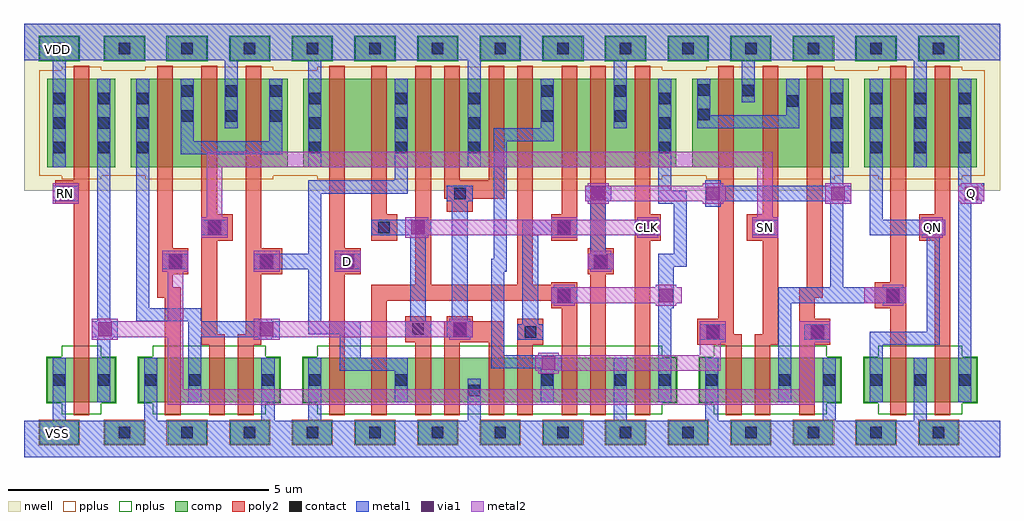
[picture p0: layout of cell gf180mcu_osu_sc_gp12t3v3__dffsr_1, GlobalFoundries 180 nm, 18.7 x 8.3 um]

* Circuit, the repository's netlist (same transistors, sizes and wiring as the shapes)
* Copyright 2022 Google LLC
*
* Licensed under the Apache License, Version 2.0 (the "License");
* you may not use this file except in compliance with the License.
* You may obtain a copy of the License at
*
*      http://www.apache.org/licenses/LICENSE-2.0
*
* Unless required by applicable law or agreed to in writing, software
* distributed under the License is distributed on an "AS IS" BASIS,
* WITHOUT WARRANTIES OR CONDITIONS OF ANY KIND, either express or implied.
* See the License for the specific language governing permissions and
* limitations under the License.

* NGSPICE file created from gf180mcu_osu_sc_gp12t3v3__dffsr_1.ext - technology: gf180mcuC

.subckt gf180mcu_osu_sc_gp12t3v3__dffsr_1 D Q QN RN SN CLK VDD VSS
X0 a_82_16# CLK a_123_111# VDD pfet_03p3 w=1.7u l=0.3u
X1 a_212_111# CLK a_195_21# VDD pfet_03p3 w=1.7u l=0.3u
X2 VSS a_41_111# a_156_21# VSS nfet_03p3 w=0.85u l=0.3u
X3 a_195_21# CLK a_184_21# VSS nfet_03p3 w=0.85u l=0.3u
X4 VSS a_25_21# a_216_70# VSS nfet_03p3 w=0.85u l=0.3u
X5 a_133_16# CLK VSS VSS nfet_03p3 w=0.85u l=0.3u
X6 a_216_70# SN a_275_21# VSS nfet_03p3 w=0.85u l=0.3u
X7 a_123_111# D VDD VDD pfet_03p3 w=1.7u l=0.3u
X8 VDD a_216_70# QN VDD pfet_03p3 w=1.7u l=0.3u
X9 Q QN VDD VDD pfet_03p3 w=1.7u l=0.3u
X10 a_25_21# RN VDD VDD pfet_03p3 w=1.7u l=0.3u
X11 a_41_111# a_25_21# VSS VSS nfet_03p3 w=0.85u l=0.3u
X12 a_25_21# RN VSS VSS nfet_03p3 w=0.85u l=0.3u
X13 a_82_16# a_133_16# a_123_21# VSS nfet_03p3 w=0.85u l=0.3u
X14 a_256_111# SN VDD VDD pfet_03p3 w=1.7u l=0.3u
X15 a_275_21# a_195_21# VSS VSS nfet_03p3 w=0.85u l=0.3u
X16 VDD a_195_21# a_256_111# VDD pfet_03p3 w=1.7u l=0.3u
X17 a_212_21# a_133_16# a_195_21# VSS nfet_03p3 w=0.85u l=0.3u
X18 a_216_70# a_25_21# a_256_111# VDD pfet_03p3 w=1.7u l=0.3u
X19 VSS a_216_70# a_212_21# VSS nfet_03p3 w=0.85u l=0.3u
X20 a_77_21# SN a_41_111# VSS nfet_03p3 w=0.85u l=0.3u
X21 a_57_111# a_82_16# VDD VDD pfet_03p3 w=1.7u l=0.3u
X22 a_57_111# a_25_21# a_41_111# VDD pfet_03p3 w=1.7u l=0.3u
X23 VDD SN a_57_111# VDD pfet_03p3 w=1.7u l=0.3u
X24 a_195_21# a_133_16# a_184_111# VDD pfet_03p3 w=1.7u l=0.3u
X25 VSS a_82_16# a_77_21# VSS nfet_03p3 w=0.85u l=0.3u
X26 a_156_21# CLK a_82_16# VSS nfet_03p3 w=0.85u l=0.3u
X27 Q QN VSS VSS nfet_03p3 w=0.85u l=0.3u
X28 VDD a_41_111# a_156_111# VDD pfet_03p3 w=1.7u l=0.3u
X29 a_184_111# a_41_111# VDD VDD pfet_03p3 w=1.7u l=0.3u
X30 a_133_16# CLK VDD VDD pfet_03p3 w=1.7u l=0.3u
X31 a_123_21# D VSS VSS nfet_03p3 w=0.85u l=0.3u
X32 a_184_21# a_41_111# VSS VSS nfet_03p3 w=0.85u l=0.3u
X33 VSS a_216_70# QN VSS nfet_03p3 w=0.85u l=0.3u
X34 a_156_111# a_133_16# a_82_16# VDD pfet_03p3 w=1.7u l=0.3u
X35 VDD a_216_70# a_212_111# VDD pfet_03p3 w=1.7u l=0.3u
.ends

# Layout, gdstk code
import gdstk
lib = gdstk.Library(unit=1e-6, precision=1e-09)
def R(c, l, rs):  # rectangles x0, y0, x1, y1
    for r in rs: c.add(gdstk.rectangle(r[:2], r[2:], *l))
def A(c, l, x, y, w, h, nx, ny, dx, dy):  # array of equal rectangles
    R(c, l, [(x+i*dx, y+j*dy, x+i*dx+w, y+j*dy+h) for i in range(nx) for j in range(ny)])
nwell = (21, 0)
comp = (22, 0)
poly2 = (30, 0)
pplus = (31, 0)
nplus = (32, 0)
contact = (33, 0)
metal1 = (34, 0)
via1 = (35, 0)
metal2 = (36, 0)

gf180mcu_osu_sc_gp12t3v3 = lib.new_cell('gf180mcu_osu_sc_gp12t3v3__dffsr_1')
R(gf180mcu_osu_sc_gp12t3v3, nwell, [(0,5.1,18.7,8.3)])
A(gf180mcu_osu_sc_gp12t3v3, comp, 1.55, 0.25, 0.75, 0.45, 14, 2, 1.2, 7.35)
R(gf180mcu_osu_sc_gp12t3v3, comp, [(0.3,0.25,1.05,0.7), (0.45,1.05,1.75,1.9), (2.2,1.05,4.9,1.9), (5.35,1.05,12.5,1.9), (12.95,1.05,15.65,1.9), (16.1,1.05,18.25,1.9), (0.45,5.55,1.75,7.25), (2.05,5.55,5.05,7.25), (5.35,5.55,12.5,7.25), (12.8,5.55,15.8,7.25), (16.1,5.55,18.25,7.25), (0.3,7.6,1.05,8.05)])
R(gf180mcu_osu_sc_gp12t3v3, poly2, [(0.95,0.8,1.25,4.85), (2.7,0.8,3,3.05), (3.55,0.8,3.85,2.15), (4.1,0.8,4.4,2.15), (5.85,0.8,6.15,3.5), (6.65,0.8,6.95,3), (7.5,0.8,7.8,2.2), (8.05,0.8,8.35,2.2), (8.9,0.8,9.2,2.2), (9.45,0.8,9.75,2.15), (10.3,0.8,10.6,2.85), (10.85,0.8,11.15,3.5), (11.7,0.8,12,4.15), (13.45,0.8,13.75,2.15), (14,0.8,14.3,2.15), (14.85,0.8,15.15,2.15), (16.6,0.8,16.9,2.85), (17.45,0.8,17.75,4.15), (3.4,2.15,3.85,2.35), (4.1,2.15,4.55,2.35), (9.45,2.15,9.95,2.65), (12.9,2.15,13.75,2.35), (14,2.15,14.45,2.35), (14.85,2.15,15.45,2.65), (7.3,2.2,7.8,2.7), (8.05,2.2,9.2,2.6), (3.4,2.35,3.7,4.15), (4.25,2.35,4.55,3.5), (12.9,2.35,13.6,2.65), (14.15,2.35,14.45,4.15), (8.1,2.6,8.6,2.7), (13.3,2.65,13.6,7.5), (14.85,2.65,15.15,3.05), (10.1,2.85,10.6,3), (16.3,2.85,16.9,3.35), (6.65,3,10.6,3.3), (2.55,3.05,3,3.25), (14.85,3.05,15.3,3.25), (2.55,3.25,2.85,3.5), (15,3.25,15.3,7.5), (7.5,3.3,7.8,7.5), (9.45,3.3,9.75,7.5), (10.1,3.3,10.6,3.35), (16.6,3.35,16.9,7.5), (2.55,3.5,3.15,4), (4.25,3.5,4.95,4), (5.85,3.5,6.45,4), (10.8,3.5,11.3,4), (2.55,4,2.85,7.5), (4.25,4,4.55,7.5), (5.85,4,6.15,7.5), (10.85,4,11.15,7.5), (3.4,4.15,4,4.65), (6.65,4.15,7.15,4.65), (10.1,4.15,10.6,4.65), (11.7,4.15,12.2,4.65), (13.85,4.15,14.45,4.65), (17.15,4.15,17.75,4.65), (3.4,4.65,3.7,7.5), (6.65,4.65,6.95,7.5), (10.3,4.65,10.6,7.5), (11.7,4.65,12,7.5), (14.15,4.65,14.45,7.5), (17.45,4.65,17.75,7.5), (8.1,4.7,8.6,4.95), (0.6,4.85,1.25,5.3), (8.05,4.95,9.2,5.3), (0.95,5.3,1.25,7.5), (8.05,5.3,8.35,7.5), (8.9,5.3,9.2,7.5)])
A(gf180mcu_osu_sc_gp12t3v3, pplus, 1.53, 0.23, 0.79, 0.49, 14, 1, 1.2, 0)
R(gf180mcu_osu_sc_gp12t3v3, pplus, [(0.28,0.23,1.07,0.72), (0.72,5.32,1.48,5.39), (2.32,5.32,4.78,5.39), (5.62,5.32,12.23,5.39), (13.07,5.32,15.53,5.39), (16.37,5.32,17.98,5.39), (0.29,5.39,18.41,7.41), (0.72,7.41,1.48,7.48), (2.32,7.41,4.78,7.48), (5.62,7.41,12.23,7.48), (13.07,7.41,15.53,7.48), (16.37,7.41,17.98,7.48)])
A(gf180mcu_osu_sc_gp12t3v3, nplus, 1.53, 7.58, 0.79, 0.49, 14, 1, 1.2, 0)
R(gf180mcu_osu_sc_gp12t3v3, nplus, [(0.72,0.82,1.48,1.03), (2.47,0.82,4.63,1.03), (5.62,0.82,12.23,1.03), (13.22,0.82,15.38,1.03), (16.37,0.82,17.98,1.03), (0.43,1.03,1.77,1.92), (2.18,1.03,4.92,1.92), (5.33,1.03,12.52,1.92), (12.93,1.03,15.67,1.92), (16.08,1.03,18.27,1.92), (0.72,1.92,1.48,2.13), (2.47,1.92,4.63,2.13), (5.62,1.92,12.23,2.13), (13.22,1.92,15.38,2.13), (16.37,1.92,17.98,2.13), (0.28,7.58,1.07,8.07)])
A(gf180mcu_osu_sc_gp12t3v3, contact, 1.815, 0.365, 0.22, 0.22, 14, 2, 1.2, 7.35)
A(gf180mcu_osu_sc_gp12t3v3, contact, 16.215, 1.365, 0.22, 0.22, 3, 2, 0.85, 4.455)
A(gf180mcu_osu_sc_gp12t3v3, contact, 0.565, 5.82, 0.22, 0.22, 1, 3, 0, 0.47)
A(gf180mcu_osu_sc_gp12t3v3, contact, 1.415, 5.82, 0.22, 0.22, 1, 3, 0, 0.47)
A(gf180mcu_osu_sc_gp12t3v3, contact, 2.165, 5.82, 0.22, 0.22, 1, 3, 0, 0.47)
A(gf180mcu_osu_sc_gp12t3v3, contact, 5.465, 5.82, 0.22, 0.22, 1, 3, 0, 0.47)
A(gf180mcu_osu_sc_gp12t3v3, contact, 7.115, 5.82, 0.22, 0.22, 1, 3, 0, 0.47)
A(gf180mcu_osu_sc_gp12t3v3, contact, 8.515, 5.82, 0.22, 0.22, 1, 3, 0, 0.47)
A(gf180mcu_osu_sc_gp12t3v3, contact, 12.165, 5.82, 0.22, 0.22, 1, 3, 0, 0.47)
A(gf180mcu_osu_sc_gp12t3v3, contact, 15.465, 5.82, 0.22, 0.22, 1, 3, 0, 0.47)
A(gf180mcu_osu_sc_gp12t3v3, contact, 16.215, 6.29, 0.22, 0.22, 3, 2, 0.85, 0.47)
A(gf180mcu_osu_sc_gp12t3v3, contact, 3.015, 6.43, 0.22, 0.22, 3, 2, 0.85, 0.47)
R(gf180mcu_osu_sc_gp12t3v3, contact, [(0.565,0.365,0.785,0.585), (8.515,1.165,8.735,1.385), (0.565,1.365,0.785,1.585), (1.415,1.365,1.635,1.585), (2.315,1.365,2.535,1.585), (3.165,1.365,3.385,1.585), (4.565,1.365,4.785,1.585), (5.465,1.365,5.685,1.585), (7.115,1.365,7.335,1.585), (9.915,1.365,10.135,1.585), (11.315,1.365,11.535,1.585), (12.165,1.365,12.385,1.585), (13.065,1.365,13.285,1.585), (14.465,1.365,14.685,1.585), (15.315,1.365,15.535,1.585), (9.59,2.29,9.81,2.51), (13.09,2.29,13.31,2.51), (15.09,2.29,15.31,2.51), (7.44,2.34,7.66,2.56), (8.24,2.34,8.46,2.56), (10.24,2.99,10.46,3.21), (16.54,2.99,16.76,3.21), (2.79,3.64,3.01,3.86), (4.54,3.64,4.76,3.86), (6.09,3.64,6.31,3.86), (10.94,3.64,11.16,3.86), (3.54,4.29,3.76,4.51), (6.79,4.29,7.01,4.51), (10.24,4.29,10.46,4.51), (11.84,4.29,12.06,4.51), (14.09,4.29,14.31,4.51), (17.29,4.29,17.51,4.51), (8.24,4.94,8.46,5.16), (0.715,4.965,0.935,5.185), (9.915,6.43,10.135,6.65), (11.315,6.43,11.535,6.65), (12.915,6.455,13.135,6.675), (14.615,6.715,14.835,6.935), (9.915,6.9,10.135,7.12), (11.315,6.9,11.535,7.12), (13.765,6.915,13.985,7.135), (12.915,6.925,13.135,7.145), (0.565,7.715,0.785,7.935)])
R(gf180mcu_osu_sc_gp12t3v3, metal1, [(0,0,18.7,0.7), (0.55,0.7,0.8,1.9), (2.3,0.7,2.55,1.9), (4.55,0.7,4.8,1.9), (5.45,0.7,5.7,1.9), (8.5,0.7,8.75,1.5), (11.3,0.7,11.55,1.9), (13.05,0.7,13.3,1.9), (15.3,0.7,15.55,1.9), (17.05,0.7,17.3,1.9), (1.4,1.05,1.65,2.25), (3.15,1.05,3.4,2.3), (7.1,1.05,7.35,1.65), (9.9,1.05,10.15,1.65), (12.15,1.05,12.4,2.85), (14.45,1.05,14.7,2.95), (16.2,1.05,16.45,2.15), (17.9,1.05,18.15,4.85), (6.05,1.65,7.35,1.9), (9.9,1.65,10.3,1.7), (8.95,1.7,10.3,1.95), (6.05,1.9,6.45,2.35), (8.95,1.95,9.2,3.55), (16.2,2.15,17.55,2.4), (1.4,2.25,1.7,2.3), (4.5,2.25,4.75,2.3), (9.45,2.25,9.95,2.55), (12.95,2.25,13.45,2.55), (14.95,2.25,15.45,2.55), (1.3,2.3,1.8,2.6), (3.15,2.3,4.9,2.6), (7.3,2.3,7.8,2.6), (8.1,2.3,8.6,2.6), (5.45,2.35,6.45,2.6), (17.3,2.4,17.55,4.25), (9.55,2.55,9.85,4.25), (1.4,2.6,1.65,7.25), (2.15,2.6,3.4,2.85), (4.5,2.6,4.75,2.65), (5.45,2.6,5.7,3.6), (7.4,2.6,7.7,4.25), (8.2,2.6,8.5,4.9), (2.15,2.85,2.4,7.25), (12.15,2.85,12.45,3.65), (10.1,2.95,10.6,3.25), (14.45,2.95,16.9,3.25), (15.45,3.25,15.7,4.9), (8.95,3.55,9.25,3.8), (2.65,3.6,3.15,3.9), (4.4,3.6,5.7,3.9), (5.95,3.6,6.45,3.9), (10.8,3.6,11.3,3.9), (12.15,3.65,12.7,3.9), (9,3.8,9.25,6.05), (5.45,3.9,5.7,5.05), (10.85,3.9,11.15,4.9), (12.45,3.9,12.7,4.85), (3.4,4.25,3.9,4.55), (6.65,4.25,7.8,4.55), (9.55,4.25,10.6,4.55), (11.7,4.25,12.2,4.55), (13.95,4.25,14.45,4.55), (16.2,4.25,17.65,4.55), (16.2,4.55,16.45,7.25), (13.05,4.8,13.35,4.9), (12.15,4.85,12.7,5.1), (17.9,4.85,18.35,4.9), (0.55,4.9,1.05,5.2), (8.1,4.9,8.6,5.2), (10.75,4.9,11.25,5.2), (13.05,4.9,15.85,5.2), (17.9,4.9,18.4,5.25), (5.45,5.05,7.35,5.3), (12.15,5.1,12.4,7.25), (13.05,5.2,13.35,5.3), (15.45,5.2,15.7,7.25), (17.9,5.25,18.15,7.25), (7.1,5.3,7.35,7.25), (0.55,5.55,0.8,7.6), (5.45,5.55,5.7,7.6), (8.5,5.55,8.75,7.6), (17.05,5.55,17.3,7.6), (3,5.8,4.95,6.05), (3,6.05,3.25,7.25), (4.7,6.05,4.95,7.25), (9,6.05,10.15,6.3), (3.85,6.3,4.1,7.6), (9.9,6.3,10.15,7.25), (11.3,6.3,11.55,7.6), (12.9,6.3,14.85,6.55), (12.9,6.55,13.15,7.25), (14.6,6.55,14.85,7.25), (13.75,6.8,14,7.6), (0,7.6,18.7,8.3)])
R(gf180mcu_osu_sc_gp12t3v3, via1, [(9.92,1.67,10.18,1.93), (13.07,2.27,13.33,2.53), (15.07,2.27,15.33,2.53), (1.42,2.32,1.68,2.58), (4.52,2.32,4.78,2.58), (8.22,2.32,8.48,2.58), (10.22,2.97,10.48,3.23), (12.17,2.97,12.43,3.23), (16.52,2.97,16.78,3.23), (2.77,3.62,3.03,3.88), (4.52,3.62,4.78,3.88), (6.07,3.62,6.33,3.88), (10.92,3.62,11.18,3.88), (3.52,4.27,3.78,4.53), (7.42,4.27,7.68,4.53), (10.22,4.27,10.48,4.53), (11.82,4.27,12.08,4.53), (14.07,4.27,14.33,4.53), (17.27,4.27,17.53,4.53), (0.67,4.92,0.93,5.18), (10.87,4.92,11.13,5.18), (13.07,4.92,13.33,5.18), (15.47,4.92,15.73,5.18), (18.02,4.92,18.28,5.18)])
R(gf180mcu_osu_sc_gp12t3v3, metal2, [(2.75,1,15.15,1.3), (2.75,1.3,3.05,2.3), (14.85,1.3,15.15,2.2), (9.85,1.6,10.25,1.65), (9.8,1.65,13.35,1.95), (9.85,1.95,10.25,2), (12.95,1.95,13.35,2.2), (12.95,2.2,13.45,2.6), (14.85,2.2,15.45,2.6), (1.3,2.25,1.8,2.3), (4.4,2.25,4.9,2.3), (8.15,2.25,8.55,2.3), (1.3,2.3,3.05,2.6), (4.4,2.3,8.6,2.6), (1.3,2.6,1.8,2.65), (2.75,2.6,3.05,3.55), (4.4,2.6,4.9,2.65), (8.15,2.6,8.55,2.65), (10.15,2.9,10.55,2.95), (12.1,2.9,12.5,2.95), (16.45,2.9,16.85,2.95), (10.1,2.95,12.6,3.25), (16.1,2.95,16.9,3.25), (10.15,3.25,10.55,3.3), (12.1,3.25,12.5,3.3), (16.45,3.25,16.85,3.3), (2.65,3.55,3.15,3.95), (4.4,3.55,4.9,3.95), (5.95,3.55,6.45,3.95), (10.85,3.55,11.25,3.6), (10.8,3.6,11.3,3.9), (10.85,3.9,11.25,3.95), (3.4,4.2,3.9,4.6), (7.3,4.2,7.75,4.25), (10.1,4.2,10.6,4.25), (11.75,4.2,12.15,4.25), (13.95,4.2,14.45,4.6), (17.2,4.2,17.6,4.25), (7.3,4.25,12.2,4.55), (17.15,4.25,17.65,4.55), (7.3,4.55,7.75,4.6), (10.1,4.55,10.6,4.6), (11.75,4.55,12.15,4.6), (17.2,4.55,17.6,4.6), (3.5,4.6,3.8,5.55), (14.05,4.6,14.35,5.55), (0.55,4.85,1.05,5.25), (10.8,4.85,11.2,4.9), (13,4.85,13.4,4.9), (15.35,4.85,15.85,5.25), (17.95,4.85,18.35,4.9), (10.75,4.9,13.45,5.2), (17.9,4.9,18.4,5.2), (10.8,5.2,11.2,5.25), (13,5.2,13.4,5.25), (17.95,5.2,18.35,5.25), (3.5,5.55,14.35,5.85)])
gf180mcu_osu_sc_gp12t3v3.add(gdstk.Label('D', (6.2,3.75), layer=36, texttype=10))
gf180mcu_osu_sc_gp12t3v3.add(gdstk.Label('Q', (18.15,5.05), layer=36, texttype=10))
gf180mcu_osu_sc_gp12t3v3.add(gdstk.Label('QN', (17.4,4.4), layer=36, texttype=10))
gf180mcu_osu_sc_gp12t3v3.add(gdstk.Label('RN', (0.8,5.05), layer=36, texttype=10))
gf180mcu_osu_sc_gp12t3v3.add(gdstk.Label('SN', (14.2,4.4), layer=36, texttype=10))
gf180mcu_osu_sc_gp12t3v3.add(gdstk.Label('CLK', (11.95,4.4), layer=36, texttype=10))
gf180mcu_osu_sc_gp12t3v3.add(gdstk.Label('VDD', (0.65,7.8), layer=34, texttype=10))
gf180mcu_osu_sc_gp12t3v3.add(gdstk.Label('VSS', (0.65,0.45), layer=34, texttype=10))

lib.write_gds('gf180mcu_osu_sc_gp12t3v3__dffsr_1.gds')
